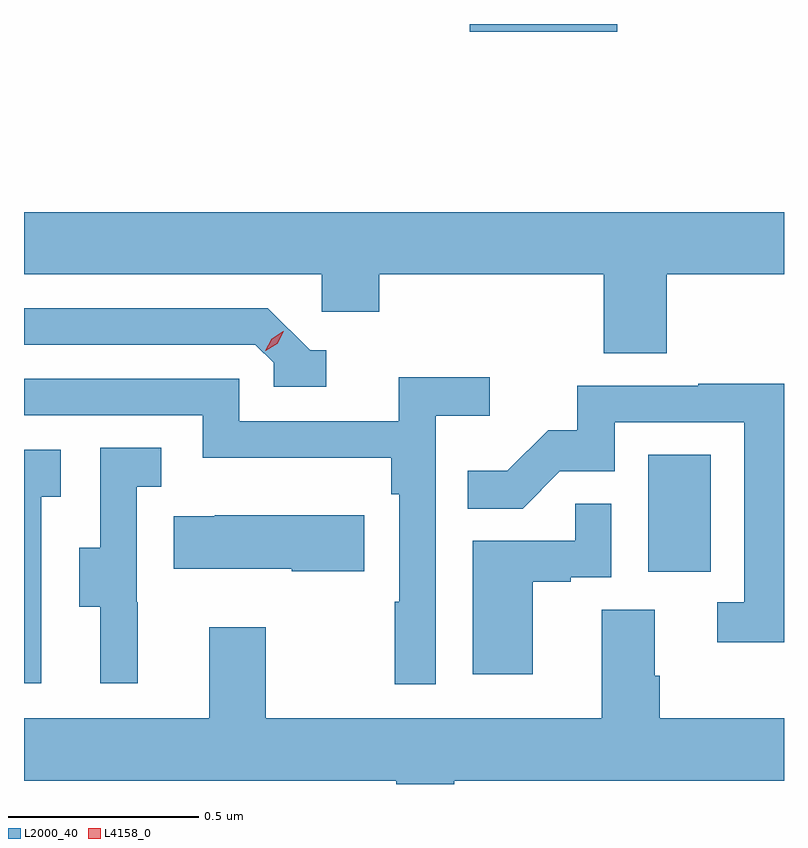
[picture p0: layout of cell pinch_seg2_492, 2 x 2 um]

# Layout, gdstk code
import gdstk
lib = gdstk.Library(unit=1e-6, precision=1e-09)
def R(c, l, rs):  # rectangles x0, y0, x1, y1
    for r in rs: c.add(gdstk.rectangle(r[:2], r[2:], *l))
def P(c, l, *ps):  # polygons
    for p in ps: c.add(gdstk.Polygon(p, *l))
L2000_40 = (2000, 40)
L4158_0 = (4158, 0)

pinch_seg2_492 = lib.new_cell('pinch_seg2_492')
R(pinch_seg2_492, L2000_40, [(942.584,585.582,942.748,585.889), (942.114,587.002,942.502,587.023)])
P(pinch_seg2_492, L2000_40, [(940.941,586.364),(941.724,586.364),(941.724,586.266),(941.876,586.266),(941.876,586.364),(942.467,586.364),(942.467,586.156),(942.632,586.156),(942.632,586.364),(942.941,586.364),(942.941,586.528),(940.941,586.528)],
  [(941.737,586.164),(941.694,586.164),(941.583,586.275),(940.941,586.275),(940.941,586.179),(941.55,586.179),(941.598,586.131),(941.598,586.068),(941.737,586.068)],
  [(942.024,585.992),(942.166,585.992),(942.166,586.094),(941.927,586.094),(941.927,585.978),(941.508,585.978),(941.508,586.089),(940.941,586.089),(940.941,585.993),(941.412,585.993),(941.412,585.881),(941.908,585.881),(941.908,585.785),(941.928,585.785),(941.928,585.503),(941.916,585.503),(941.916,585.285),(942.024,585.285)],
  [(942.941,586.076),(942.715,586.076),(942.715,586.071),(942.397,586.071),(942.397,585.954),(942.32,585.954),(942.213,585.847),(942.109,585.847),(942.109,585.748),(942.253,585.748),(942.351,585.846),(942.495,585.846),(942.495,585.975),(942.837,585.975),(942.837,585.501),(942.765,585.501),(942.765,585.396),(942.941,585.396)],
  [(941.24,585.501),(941.238,585.501),(941.238,585.805),(941.302,585.805),(941.302,585.908),(941.142,585.908),(941.142,585.645),(941.087,585.645),(941.087,585.49),(941.141,585.49),(941.141,585.288),(941.24,585.288)],
  [(940.986,585.779),(941.038,585.779),(941.038,585.903),(940.941,585.903),(940.941,585.288),(940.986,585.288)],
  [(942.28,585.555),(942.38,585.555),(942.38,585.567),(942.486,585.567),(942.486,585.761),(942.391,585.761),(942.391,585.663),(942.122,585.663),(942.122,585.312),(942.28,585.312)],
  [(941.836,585.73),(941.443,585.73),(941.443,585.727),(941.335,585.727),(941.335,585.59),(941.645,585.59),(941.645,585.583),(941.836,585.583)],
  [(942.073,585.032),(942.941,585.032),(942.941,585.196),(942.614,585.196),(942.614,585.308),(942.601,585.308),(942.601,585.482),(942.461,585.482),(942.461,585.196),(941.577,585.196),(941.577,585.436),(941.429,585.436),(941.429,585.196),(940.941,585.196),(940.941,585.032),(941.921,585.032),(941.921,585.023),(942.073,585.023)])
P(pinch_seg2_492, L4158_0, [(941.576,586.163),(941.576,586.163),(941.593,586.195),(941.623,586.215),(941.624,586.215),(941.624,586.214),(941.608,586.182),(941.577,586.163)])

lib.write_gds('pinch_seg2_492.gds')
